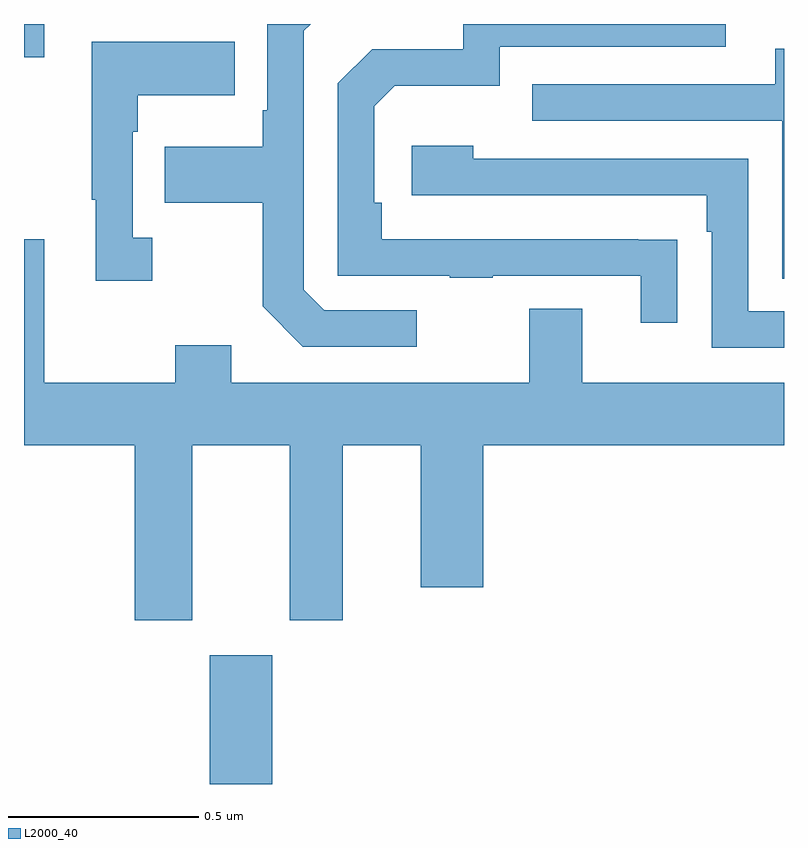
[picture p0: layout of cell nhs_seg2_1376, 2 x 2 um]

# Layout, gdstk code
import gdstk
lib = gdstk.Library(unit=1e-6, precision=1e-09)
def R(c, l, rs):  # rectangles x0, y0, x1, y1
    for r in rs: c.add(gdstk.rectangle(r[:2], r[2:], *l))
def P(c, l, *ps):  # polygons
    for p in ps: c.add(gdstk.Polygon(p, *l))
L2000_40 = (2000, 40)

nhs_seg2_1376 = lib.new_cell('nhs_seg2_1376')
R(nhs_seg2_1376, L2000_40, [(128.489,590.8,128.653,591.139), (128,592.713,128.053,592.8)])
P(nhs_seg2_1376, L2000_40, [(129.034,592.047),(128.79,592.047),(128.736,592.101),(128.736,592.782),(128.754,592.8),(128.64,592.8),(128.64,592.573),(128.628,592.573),(128.628,592.477),(128.371,592.477),(128.371,592.33),(128.628,592.33),(128.628,592.057),(128.733,591.951),(129.034,591.951)],
  [(129.719,592.232),(129.617,592.232),(129.617,592.233),(128.942,592.233),(128.942,592.33),(128.922,592.33),(128.922,592.584),(128.975,592.637),(129.252,592.637),(129.252,592.74),(129.847,592.74),(129.847,592.8),(129.156,592.8),(129.156,592.734),(128.916,592.734),(128.826,592.644),(128.826,592.137),(129.121,592.137),(129.121,592.132),(129.233,592.132),(129.233,592.137),(129.623,592.137),(129.623,592.014),(129.719,592.014)],
  [(128.338,592.238),(128.286,592.238),(128.286,592.517),(128.299,592.517),(128.299,592.613),(128.555,592.613),(128.555,592.753),(128.178,592.753),(128.178,592.337),(128.189,592.337),(128.189,592.125),(128.338,592.125)],
  [(130,592.735),(129.977,592.735),(129.977,592.641),(129.337,592.641),(129.337,592.545),(129.996,592.545),(129.996,592.129),(130,592.129)],
  [(130,592.044),(129.906,592.044),(129.906,592.446),(129.182,592.446),(129.182,592.48),(129.021,592.48),(129.021,592.35),(129.797,592.35),(129.797,592.253),(129.81,592.253),(129.81,591.948),(130,591.948)],
  [(128.443,591.692),(128.699,591.692),(128.699,591.231),(128.839,591.231),(128.839,591.692),(129.044,591.692),(129.044,591.318),(129.208,591.318),(129.208,591.692),(130,591.692),(130,591.856),(129.469,591.856),(129.469,592.051),(129.329,592.051),(129.329,591.856),(128.545,591.856),(128.545,591.955),(128.398,591.955),(128.398,591.856),(128.053,591.856),(128.053,592.234),(128,592.234),(128,591.692),(128.291,591.692),(128.291,591.231),(128.443,591.231)])

lib.write_gds('nhs_seg2_1376.gds')
